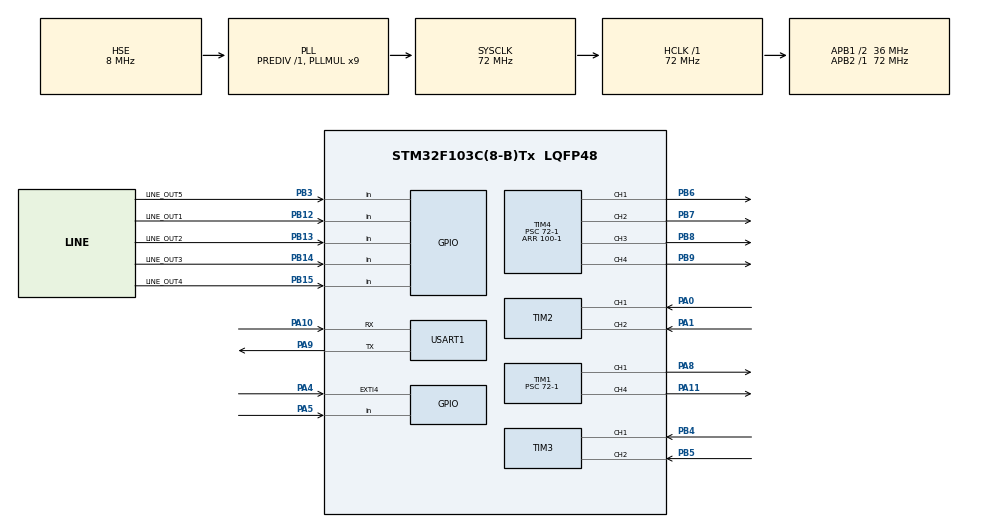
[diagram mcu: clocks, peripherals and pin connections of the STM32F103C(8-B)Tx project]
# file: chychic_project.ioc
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Dma.Request0=USART1_RX
Dma.Request1=USART1_TX
Dma.USART1_RX.0.Direction=DMA_PERIPH_TO_MEMORY
Dma.USART1_RX.0.Instance=DMA1_Channel5
Dma.USART1_RX.0.MemDataAlignment=DMA_MDATAALIGN_BYTE
Dma.USART1_RX.0.MemInc=DMA_MINC_ENABLE
Dma.USART1_RX.0.Mode=DMA_CIRCULAR
Dma.USART1_RX.0.PeriphDataAlignment=DMA_PDATAALIGN_BYTE
Dma.USART1_RX.0.PeriphInc=DMA_PINC_DISABLE
Dma.USART1_RX.0.Priority=DMA_PRIORITY_LOW
Dma.USART1_TX.1.Direction=DMA_MEMORY_TO_PERIPH
Dma.USART1_TX.1.Instance=DMA1_Channel4
Dma.USART1_TX.1.MemDataAlignment=DMA_MDATAALIGN_BYTE
Dma.USART1_TX.1.MemInc=DMA_MINC_ENABLE
Dma.USART1_TX.1.Mode=DMA_NORMAL
Dma.USART1_TX.1.PeriphDataAlignment=DMA_PDATAALIGN_BYTE
Dma.USART1_TX.1.PeriphInc=DMA_PINC_DISABLE
Dma.USART1_TX.1.Priority=DMA_PRIORITY_LOW
Mcu.Family=STM32F1
Mcu.Name=STM32F103C(8-B)Tx
Mcu.Package=LQFP48
NVIC.DMA1_Channel4_IRQn=true\:0\:0\:false\:false\:true\:false\:true\:true
NVIC.DMA1_Channel5_IRQn=true\:0\:0\:false\:false\:true\:false\:true\:true
NVIC.EXTI4_IRQn=true\:0\:0\:false\:false\:true\:true\:true\:true
NVIC.PriorityGroup=NVIC_PRIORITYGROUP_4
NVIC.USART1_IRQn=true\:0\:0\:false\:false\:true\:true\:true\:true
PA0-WKUP.GPIO_PuPd=GPIO_PULLUP
PA0-WKUP.Signal=S_TIM2_CH1_ETR
PA1.GPIO_PuPd=GPIO_PULLUP
PA1.Signal=S_TIM2_CH2
PA10.Mode=Asynchronous
PA10.Signal=USART1_RX
PA11.Signal=S_TIM1_CH4
PA13.Mode=Serial_Wire
PA13.Signal=SYS_JTMS-SWDIO
PA14.Mode=Serial_Wire
PA14.Signal=SYS_JTCK-SWCLK
PA4.GPIO_ModeDefaultEXTI=GPIO_MODE_IT_RISING
PA4.Signal=GPXTI4
PA5.Signal=GPIO_Input
PA8.Signal=S_TIM1_CH1
PA9.Mode=Asynchronous
PA9.Signal=USART1_TX
PB12.GPIO_Label=LINE_OUT1
PB12.Signal=GPIO_Input
PB13.GPIO_Label=LINE_OUT2
PB13.Signal=GPIO_Input
PB14.GPIO_Label=LINE_OUT3
PB14.Signal=GPIO_Input
PB15.GPIO_Label=LINE_OUT4
PB15.Signal=GPIO_Input
PB3.GPIO_Label=LINE_OUT5
PB3.Signal=GPIO_Input
PB4.GPIO_PuPd=GPIO_PULLUP
PB4.Signal=S_TIM3_CH1
PB5.GPIO_PuPd=GPIO_PULLUP
PB5.Signal=S_TIM3_CH2
PB6.Signal=S_TIM4_CH1
PB7.Signal=S_TIM4_CH2
PB8.Signal=S_TIM4_CH3
PB9.Signal=S_TIM4_CH4
PD0-OSC_IN.Mode=HSE-External-Oscillator
PD0-OSC_IN.Signal=RCC_OSC_IN
PD1-OSC_OUT.Mode=HSE-External-Oscillator
PD1-OSC_OUT.Signal=RCC_OSC_OUT
ProjectManager.HeapSize=0x200
ProjectManager.StackSize=0x400
ProjectManager.TargetToolchain=CMake
RCC.AHBFreq_Value=72000000
RCC.APB1CLKDivider=RCC_HCLK_DIV2
RCC.APB1Freq_Value=36000000
RCC.APB1TimFreq_Value=72000000
RCC.APB2Freq_Value=72000000
RCC.APB2TimFreq_Value=72000000
RCC.HCLKFreq_Value=72000000
RCC.PLLMUL=RCC_PLL_MUL9
RCC.PLLSourceVirtual=RCC_PLLSOURCE_HSE
RCC.SYSCLKFreq_VALUE=72000000
RCC.SYSCLKSource=RCC_SYSCLKSOURCE_PLLCLK
RCC.USBFreq_Value=72000000
SH.S_TIM1_CH1.0=TIM1_CH1,PWM Generation1 CH1
SH.S_TIM1_CH4.0=TIM1_CH4,PWM Generation4 CH4
SH.S_TIM2_CH1_ETR.0=TIM2_CH1,Encoder_Interface
SH.S_TIM2_CH2.0=TIM2_CH2,Encoder_Interface
SH.S_TIM3_CH1.0=TIM3_CH1,Encoder_Interface
SH.S_TIM3_CH2.0=TIM3_CH2,Encoder_Interface
SH.S_TIM4_CH1.0=TIM4_CH1,PWM Generation1 CH1
SH.S_TIM4_CH2.0=TIM4_CH2,PWM Generation2 CH2
SH.S_TIM4_CH3.0=TIM4_CH3,PWM Generation3 CH3
SH.S_TIM4_CH4.0=TIM4_CH4,PWM Generation4 CH4
TIM1.AutoReloadPreload=TIM_AUTORELOAD_PRELOAD_ENABLE
TIM1.Channel-PWM\ Generation1\ CH1=TIM_CHANNEL_1
TIM1.Channel-PWM\ Generation4\ CH4=TIM_CHANNEL_4
TIM1.Period=100-1
TIM1.Prescaler=72-1
TIM2.AutoReloadPreload=TIM_AUTORELOAD_PRELOAD_ENABLE
TIM2.EncoderMode=TIM_ENCODERMODE_TI12
TIM2.IC1Filter=10
TIM2.IC2Filter=10
TIM3.AutoReloadPreload=TIM_AUTORELOAD_PRELOAD_ENABLE
TIM3.EncoderMode=TIM_ENCODERMODE_TI12
TIM3.IC1Filter=10
TIM3.IC2Filter=10
TIM4.AutoReloadPreload=TIM_AUTORELOAD_PRELOAD_ENABLE
TIM4.Channel-PWM\ Generation1\ CH1=TIM_CHANNEL_1
TIM4.Channel-PWM\ Generation2\ CH2=TIM_CHANNEL_2
TIM4.Channel-PWM\ Generation3\ CH3=TIM_CHANNEL_3
TIM4.Channel-PWM\ Generation4\ CH4=TIM_CHANNEL_4
TIM4.Period=100-1
TIM4.Prescaler=72-1
USART1.VirtualMode=VM_ASYNC
VP_TIM1_VS_ClockSourceINT.Mode=Internal
VP_TIM4_VS_ClockSourceINT.Mode=Internal
board=custom

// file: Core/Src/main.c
/* USER CODE BEGIN Header */
/**
  ******************************************************************************
  * @file           : main.c
  * @brief          : Main program body
  ******************************************************************************
  * @attention
  *
  * Copyright (c) 2026 STMicroelectronics.
  * All rights reserved.
  *
  * This software is licensed under terms that can be found in the LICENSE file
  * in the root directory of this software component.
  * If no LICENSE file comes with this software, it is provided AS-IS.
  *
  ******************************************************************************
  */
/* USER CODE END Header */
#include "main.h"
#include "dma.h"
#include "tim.h"
#include "usart.h"
#include "gpio.h"

/* USER CODE BEGIN Includes */
#include "chassis.h"
#include "app_line_follow.h"
#include "app_comm.h"
#include "app_lift.h"
#include "chassis_config.h"
#include "gettick.h"
#include "bsp_motor.h"
/* USER CODE END Includes */

void SystemClock_Config(void);

int main(void)
{

  /* MCU Configuration--------------------------------------------------------*/

  /* Reset of all peripherals, Initializes the Flash interface and the Systick. */
  HAL_Init();

  /* Configure the system clock */
  SystemClock_Config();

  /* Initialize all configured peripherals */
  MX_GPIO_Init();
  MX_DMA_Init();
  MX_TIM2_Init();
  MX_TIM3_Init();
  MX_TIM4_Init();
  MX_USART1_UART_Init();
  MX_TIM1_Init();
  /* USER CODE BEGIN 2 */
  if (!chassis_init())
  {
    Error_Handler();
  }
  if (!app_lift_init())
  {
    Error_Handler();
  }
  app_line_follow_init();
chassis_set_velocity(0.0f, 0.0f);
  /* 默认上电不循迹；确认极性和顺序后，由主循环调用 app_line_follow_start() 启动。 */
  /* 通信初始化：启动 USART1 循环 DMA 接收，上电默认 IDLE，等上位机下模式。 */
  app_comm_init(&huart1);
  /* last_control_tick_ms：上次采样时刻，毫秒；启动后目标默认为零。 */
  uint32_t last_control_tick_ms = Get_tick();
  /* USER CODE END 2 */

  /* Infinite loop */
  while (1)
  {

    /* USER CODE BEGIN 3 */
    /* 通信收：每圈都跑，DMA 环形缓冲不会因为控制周期太长而覆盖 */
    app_comm_poll();

    /* 无符号差值可跨 HAL tick 回绕；超期只更新一次，传入实际经过时间。 */
    uint32_t current_tick_ms = Get_tick();
    uint32_t elapsed_ms = current_tick_ms - last_control_tick_ms;
    if (elapsed_ms >= CHASSIS_CONTROL_PERIOD_MS)
    {
      last_control_tick_ms = current_tick_ms;
      /* 先跑看门狗与遥测：上位机失联则此处已把模式切回 IDLE 并停车 */
      app_comm_update(elapsed_ms);
      app_lift_update(current_tick_ms);
      /* 先由循迹模块设置目标，再统一测速、推进斜坡并输出电机 PWM。 */
      app_line_follow_update(elapsed_ms);
      chassis_update(elapsed_ms);
    }
  }
  /* USER CODE END 3 */
}

void SystemClock_Config(void)
{
  RCC_OscInitTypeDef RCC_OscInitStruct = {0};
  RCC_ClkInitTypeDef RCC_ClkInitStruct = {0};

  /** Initializes the RCC Oscillators according to the specified parameters
  * in the RCC_OscInitTypeDef structure.
  */
  RCC_OscInitStruct.OscillatorType = RCC_OSCILLATORTYPE_HSE;
  RCC_OscInitStruct.HSEState = RCC_HSE_ON;
  RCC_OscInitStruct.HSEPredivValue = RCC_HSE_PREDIV_DIV1;
  RCC_OscInitStruct.HSIState = RCC_HSI_ON;
  RCC_OscInitStruct.PLL.PLLState = RCC_PLL_ON;
  RCC_OscInitStruct.PLL.PLLSource = RCC_PLLSOURCE_HSE;
  RCC_OscInitStruct.PLL.PLLMUL = RCC_PLL_MUL9;
  if (HAL_RCC_OscConfig(&RCC_OscInitStruct) != HAL_OK)
  {
    Error_Handler();
  }

  /** Initializes the CPU, AHB and APB buses clocks
  */
  RCC_ClkInitStruct.ClockType = RCC_CLOCKTYPE_HCLK|RCC_CLOCKTYPE_SYSCLK
                              |RCC_CLOCKTYPE_PCLK1|RCC_CLOCKTYPE_PCLK2;
  RCC_ClkInitStruct.SYSCLKSource = RCC_SYSCLKSOURCE_PLLCLK;
  RCC_ClkInitStruct.AHBCLKDivider = RCC_SYSCLK_DIV1;
  RCC_ClkInitStruct.APB1CLKDivider = RCC_HCLK_DIV2;
  RCC_ClkInitStruct.APB2CLKDivider = RCC_HCLK_DIV1;

  if (HAL_RCC_ClockConfig(&RCC_ClkInitStruct, FLASH_LATENCY_2) != HAL_OK)
  {
    Error_Handler();
  }
}

void Error_Handler(void)
{
  __disable_irq();
  while (1)
  {
  }
}
